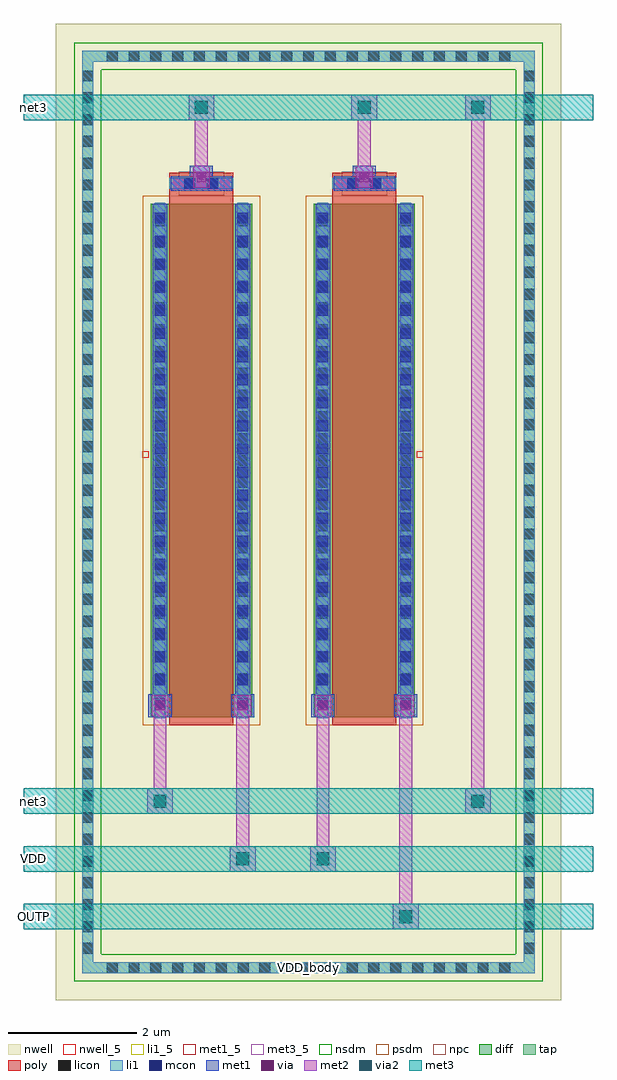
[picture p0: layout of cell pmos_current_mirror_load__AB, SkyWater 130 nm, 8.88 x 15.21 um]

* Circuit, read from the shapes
.subckt pmos_current_mirror_load__AB OUTP VDD VDD_body net3
XM1 VDD net3 net3 VDD_body sky130_fd_pr__pfet_01v8 w=8 l=1
XM2 OUTP net3 VDD VDD_body sky130_fd_pr__pfet_01v8 w=8 l=1
.ends

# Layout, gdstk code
from math import pi, radians
import gdstk
lib = gdstk.Library(unit=1e-6, precision=1e-09)
def R(c, l, rs):  # rectangles x0, y0, x1, y1
    for r in rs: c.add(gdstk.rectangle(r[:2], r[2:], *l))
def A(c, l, x, y, w, h, nx, ny, dx, dy):  # array of equal rectangles
    R(c, l, [(x+i*dx, y+j*dy, x+i*dx+w, y+j*dy+h) for i in range(nx) for j in range(ny)])
nwell_5 = (64, 5)
nwell = (64, 20)
diff = (65, 20)
tap = (65, 44)
poly = (66, 20)
licon = (66, 44)
li1_5 = (67, 5)
li1 = (67, 20)
mcon = (67, 44)
met1_5 = (68, 5)
met1 = (68, 20)
via = (68, 44)
met2 = (69, 20)
via2 = (69, 44)
met3_5 = (70, 5)
met3 = (70, 20)
nsdm = (93, 44)
psdm = (94, 20)
npc = (95, 20)

sky130_fd_pr__pfet_01v8_ = lib.new_cell('sky130_fd_pr__pfet_01v8_6DK835')
R(sky130_fd_pr__pfet_01v8_, nwell, [(-0.97,-4.49,0.97,4.32)])
R(sky130_fd_pr__pfet_01v8_, diff, [(-0.79,-4.18,0.79,3.82)])
R(sky130_fd_pr__pfet_01v8_, poly, [(-0.5,-4.31,0.5,4.305)])
A(sky130_fd_pr__pfet_01v8_, licon, -0.73, -4.005, 0.17, 0.17, 1, 23, 0, 0.34)
A(sky130_fd_pr__pfet_01v8_, licon, 0.56, -4.005, 0.17, 0.17, 1, 23, 0, 0.34)
R(sky130_fd_pr__pfet_01v8_, licon, [(-0.255,4.055,-0.085,4.225), (0.085,4.055,0.255,4.225)])
R(sky130_fd_pr__pfet_01v8_, li1, [(-0.73,-4.2,-0.56,3.84), (0.56,-4.2,0.73,3.84), (-0.5,4.055,0.5,4.225)])
A(sky130_fd_pr__pfet_01v8_, mcon, -0.73, -4.045, 0.17, 0.17, 1, 22, 0, 0.36)
A(sky130_fd_pr__pfet_01v8_, mcon, 0.56, -4.045, 0.17, 0.17, 1, 22, 0, 0.36)
R(sky130_fd_pr__pfet_01v8_, mcon, [(-0.265,4.055,-0.095,4.225), (0.095,4.055,0.265,4.225)])
R(sky130_fd_pr__pfet_01v8_, met1, [(-0.76,-4.18,-0.53,3.82), (0.53,-4.18,0.76,3.82), (-0.48,4.025,0.48,4.255)])
R(sky130_fd_pr__pfet_01v8_, psdm, [(-0.915,-4.305,0.915,3.945)])
R(sky130_fd_pr__pfet_01v8_, npc, [(-0.355,3.955,0.355,4.325)])
sky130_fd_pr__pfet_01v8_.add(gdstk.Label('D', (-0.645,-0.18), layer=67, texttype=5))
sky130_fd_pr__pfet_01v8_.add(gdstk.Label('S', (0.645,-0.18), layer=67, texttype=5))
sky130_fd_pr__pfet_01v8_.add(gdstk.Label('G', (0,4.14), layer=67, texttype=5))

pfet_01v8_w8_l1_m1__nf1_ = lib.new_cell('pfet_01v8_W8_L1_m1__nf1_gtop_sdfull_ng')
R(pfet_01v8_w8_l1_m1__nf1_, nwell_5, [(0.05,4.355,0.15,4.455)])
R(pfet_01v8_w8_l1_m1__nf1_, nwell, [(0.05,4.355,0.15,4.455)])
R(pfet_01v8_w8_l1_m1__nf1_, met1_5, [(0.21,4.31,0.44,4.51), (1.5,4.31,1.73,4.51), (0.49,8.515,1.45,8.745)])
R(pfet_01v8_w8_l1_m1__nf1_, met1, [(0.21,4.31,0.44,4.51), (1.5,4.31,1.73,4.51), (0.49,8.515,1.45,8.745)])
pfet_01v8_w8_l1_m1__nf1_.add(gdstk.Reference(sky130_fd_pr__pfet_01v8_, (0.97,4.49)))
pfet_01v8_w8_l1_m1__nf1_.add(gdstk.Label('D', (0.325,4.41), layer=68, texttype=5))
pfet_01v8_w8_l1_m1__nf1_.add(gdstk.Label('S', (1.615,4.41), layer=68, texttype=5))
pfet_01v8_w8_l1_m1__nf1_.add(gdstk.Label('G', (0.97,8.63), layer=68, texttype=5))
pfet_01v8_w8_l1_m1__nf1_.add(gdstk.Label('B', (0.1,4.405), layer=64, texttype=5))

pmos_current_mirror_load = lib.new_cell('pmos_current_mirror_load__AB')
R(pmos_current_mirror_load, nwell, [(-1.3,-4.1,6.58,11.115)])
R(pmos_current_mirror_load, tap, [(-0.885,-3.685,6.165,-3.515), (-0.885,-3.515,-0.715,10.53), (5.995,-3.515,6.165,10.53), (-0.885,10.53,6.165,10.7)])
A(pmos_current_mirror_load, licon, -0.505, -3.685, 0.17, 0.17, 19, 2, 0.34, 14.215)
A(pmos_current_mirror_load, licon, -0.885, -3.38, 0.17, 0.17, 1, 41, 0, 0.34)
A(pmos_current_mirror_load, licon, 5.995, -3.38, 0.17, 0.17, 1, 41, 0, 0.34)
R(pmos_current_mirror_load, li1_5, [(2.59,-3.65,2.69,-3.55)])
R(pmos_current_mirror_load, li1, [(-0.885,-3.685,6.165,-3.515), (-0.885,-3.515,-0.715,10.53), (5.995,-3.515,6.165,10.53), (-0.885,10.53,6.165,10.7)])
R(pmos_current_mirror_load, met1, [(0.145,0.31,0.505,0.67), (1.435,0.31,1.795,0.67), (2.685,0.31,3.045,0.67), (3.975,0.31,4.335,0.67), (0.79,8.545,1.15,8.905), (3.33,8.545,3.69,8.905)])
R(pmos_current_mirror_load, via, [(0.25,0.415,0.4,0.565), (1.54,0.415,1.69,0.565), (2.79,0.415,2.94,0.565), (4.08,0.415,4.23,0.565), (0.895,8.65,1.045,8.8), (3.435,8.65,3.585,8.8)])
R(pmos_current_mirror_load, met2, [(3.955,-3,4.355,-2.6), (4.055,-2.6,4.255,0.33), (1.415,-2.1,1.815,-1.7), (2.665,-2.1,3.065,-1.7), (1.515,-1.7,1.715,0.33), (2.765,-1.7,2.965,0.33), (0.125,-1.2,0.525,-0.8), (5.08,-1.2,5.48,-0.8), (0.225,-0.8,0.425,0.33), (5.18,-0.8,5.38,9.615), (0.195,0.33,0.455,0.65), (1.485,0.33,1.745,0.65), (2.735,0.33,2.995,0.65), (4.025,0.33,4.285,0.65), (0.84,8.565,1.1,8.885), (3.38,8.565,3.64,8.885), (0.87,8.885,1.07,9.615), (3.41,8.885,3.61,9.615), (0.77,9.615,1.17,10.015), (3.31,9.615,3.71,10.015), (5.08,9.615,5.48,10.015)])
R(pmos_current_mirror_load, via2, [(4.055,-2.9,4.255,-2.7), (1.515,-2,1.715,-1.8), (2.765,-2,2.965,-1.8), (0.225,-1.1,0.425,-0.9), (5.18,-1.1,5.38,-0.9), (0.87,9.715,1.07,9.915), (3.41,9.715,3.61,9.915), (5.18,9.715,5.38,9.915)])
A(pmos_current_mirror_load, met3_5, -1.7, -2.85, 0.1, 0.1, 1, 3, 0, 0.9)
R(pmos_current_mirror_load, met3_5, [(-1.7,9.765,-1.6,9.865)])
A(pmos_current_mirror_load, met3, -1.8, -3, 8.88, 0.4, 1, 3, 0, 0.9)
R(pmos_current_mirror_load, met3, [(-1.8,9.615,7.08,10.015)])
R(pmos_current_mirror_load, nsdm, [(-1.01,-3.81,6.29,-3.39), (-1.01,-3.39,-0.59,10.405), (5.87,-3.39,6.29,10.405), (-1.01,10.405,6.29,10.825)])
pmos_current_mirror_load.add(gdstk.Reference(pfet_01v8_w8_l1_m1__nf1_, (4.48,0), rotation=pi, x_reflection=True))
pmos_current_mirror_load.add(gdstk.Reference(pfet_01v8_w8_l1_m1__nf1_, (0,0)))
pmos_current_mirror_load.add(gdstk.Label('net3', (-1.65,9.815), layer=70, texttype=5))
pmos_current_mirror_load.add(gdstk.Label('net3', (-1.65,-1), layer=70, texttype=5))
pmos_current_mirror_load.add(gdstk.Label('VDD', (-1.65,-1.9), layer=70, texttype=5))
pmos_current_mirror_load.add(gdstk.Label('OUTP', (-1.65,-2.8), layer=70, texttype=5))
pmos_current_mirror_load.add(gdstk.Label('VDD_body', (2.64,-3.6), layer=67, texttype=5))

lib.write_gds('pmos_current_mirror_load__AB.gds')
